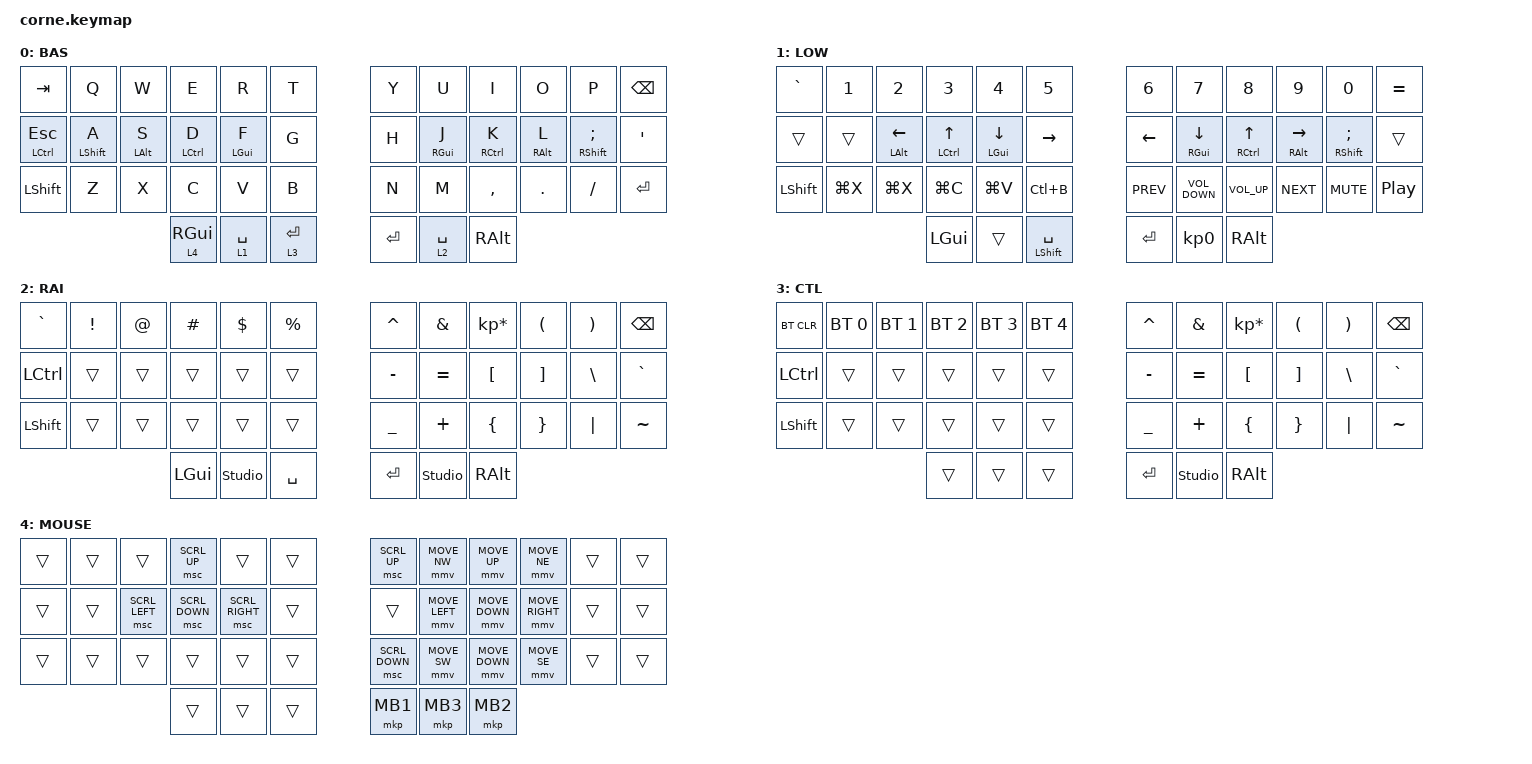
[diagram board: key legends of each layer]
/*
 * Copyright (c) 2020 The ZMK Contributors
 *
 * SPDX-License-Identifier: MIT
 */

#include <dt-bindings/led/led.h>
#include <dt-bindings/zmk/reset.h>
#include <behaviors.dtsi>
#include <dt-bindings/zmk/bt.h>
#include <dt-bindings/zmk/keys.h>
#define ZMK_POINTING_DEFAULT_MOVE_VAL 1500  // default: 600
#define ZMK_POINTING_DIAGONAL_MOVE_VAL 1000
#include <dt-bindings/zmk/pointing.h>

#define MOVE_NW MOVE(-ZMK_POINTING_DIAGONAL_MOVE_VAL, -ZMK_POINTING_DIAGONAL_MOVE_VAL)
#define MOVE_NE MOVE(ZMK_POINTING_DIAGONAL_MOVE_VAL, -ZMK_POINTING_DIAGONAL_MOVE_VAL)
#define MOVE_SE MOVE(ZMK_POINTING_DIAGONAL_MOVE_VAL, ZMK_POINTING_DIAGONAL_MOVE_VAL)
#define MOVE_SW MOVE(-ZMK_POINTING_DIAGONAL_MOVE_VAL, ZMK_POINTING_DIAGONAL_MOVE_VAL)

&led_strip { chain-length = <27>; };

&mmv {
    time-to-max-speed-ms = <300>;
    acceleration-exponent = <1>;
};

/ {
    combos {
        compatible = "zmk,combos";

        screenshot {
            bindings = <&kp LS(LC(LG(NUMBER_4)))>;
            key-positions = <13 14 15 16>;
        };

        left_del {
            bindings = <&kp BACKSPACE>;
            key-positions = <28 27 26>;
        };

        right_del {
            bindings = <&kp BACKSPACE>;
            key-positions = <31 32 33>;
        };

        lcopy {
            bindings = <&kp LG(C)>;
            key-positions = <26 27>;
        };

        lpaste {
            bindings = <&kp LG(V)>;
            key-positions = <27 28>;
        };

        lundo {
            bindings = <&kp LG(Z)>;
            key-positions = <25 26>;
        };

        left_brace {
            bindings = <&kp LEFT_BRACE>;
            key-positions = <31 32>;
        };

        right_brase {
            bindings = <&kp RIGHT_BRACE>;
            key-positions = <33 34>;
        };

        left_bracket {
            bindings = <&kp LEFT_BRACKET>;
            key-positions = <7 8>;
        };

        right_bracket {
            bindings = <&kp RIGHT_BRACKET>;
            key-positions = <9 10>;
        };

        ctrl-a {
            bindings = <&kp LC(A)>;
            key-positions = <28 29>;
        };
    };

    behaviors {
        hml: hml {
            compatible = "zmk,behavior-hold-tap";
            label = "HML";
            bindings = <&kp>, <&kp>;

            #binding-cells = <2>;
            tapping-term-ms = <280>;
            quick-tap-ms = <200>;
            flavor = "balanced";
            require-prior-idle-ms = <150>;
            hold-trigger-on-release;
            hold-trigger-key-positions = <6 18 30 31 19 7 8 9 10 22 21 20 32 33 34 39 40 41 11 23 35>;
        };

        hmr: hmr {
            compatible = "zmk,behavior-hold-tap";
            label = "HMR";
            bindings = <&kp>, <&kp>;

            #binding-cells = <2>;
            tapping-term-ms = <280>;
            quick-tap-ms = <200>;
            flavor = "balanced";
            require-prior-idle-ms = <150>;
            hold-trigger-on-release;
            hold-trigger-key-positions = <2 3 4 5 14 15 16 17 26 27 28 29 36 37 38 1 2 3 4 5 13 14 15 16 17 25 26 27 28 29 36 37 38 0 12 24>;
        };

        new_behavior: new_behavior {
            compatible = "zmk,behavior-hold-tap";
            label = "NEW_BEHAVIOR";
            bindings = <&kp>, <&kp>;

            #binding-cells = <2>;
            tapping-term-ms = <280>;
            quick-tap-ms = <200>;
            flavor = "balanced";
            require-prior-idle-ms = <150>;
            hold-trigger-on-release;
            hold-trigger-key-positions = <2 3 4 5 14 15 16 17 26 27 28 29 36 37 38 1 2 3 4 5 13 14 15 16 17 25 26 27 28 29 36 37 38>;
        };

        mymmv: mymmv {
            compatible = "zmk,behavior-input-two-axis";
            label = "MYMMV";
            #binding-cells = <1>;
            x-input-code = <0>;
            y-input-code = <1>;
            time-to-max-speed-ms = <300>;
            acceleration-exponent = <1>;
        };
    };

    keymap {
        compatible = "zmk,keymap";

        default_layer {
            display-name = "BAS";

            // -----------------------------------------------------------------------------------------
            // |  TAB |  Q  |  W  |  E  |  R  |  T  |   |  Y  |  U   |  I  |  O  |  P  | BKSP |
            // | CTRL |  A  |  S  |  D  |  F  |  G  |   |  H  |  J   |  K  |  L  |  ;  |  '   |
            // | SHFT |  Z  |  X  |  C  |  V  |  B  |   |  N  |  M   |  ,  |  .  |  /  | ESC  |
            //                    | GUI | LWR | SPC |   | ENT | RSE  | ALT |

            bindings = <
&kp TAB           &kp Q              &kp W            &kp E         &kp R        &kp T          &kp Y    &kp U        &kp I         &kp O        &kp P                  &kp BSPC
&mt LCTRL ESCAPE  &hml LEFT_SHIFT A  &hml LEFT_ALT S  &hml LCTRL D  &hml LGUI F  &kp G          &kp H    &hmr RGUI J  &hmr RCTRL K  &hmr RALT L  &hmr RSHIFT SEMICOLON  &kp SQT
&kp LSHFT         &kp Z              &kp X            &kp C         &kp V        &kp B          &kp N    &kp M        &kp COMMA     &kp DOT      &kp FSLH               &kp ENTER
                                                      &lt 4 RGUI    &lt 1 SPACE  &lt 3 ENTER    &kp RET  &lt 2 SPACE  &kp RALT
            >;
        };

        lower_layer {
            display-name = "LOW";

            // -----------------------------------------------------------------------------------------
            // |  TAB |  1  |  2  |  3  |  4  |  5  |   |  6  |  7  |  8  |  9  |  0  | BKSP |
            // | BTCLR| BT1 | BT2 | BT3 | BT4 | BT5 |   | LFT | DWN |  UP | RGT |     |      |
            // | SHFT |     |     |     |     |     |   |     |     |     |     |     |      |
            //                    | GUI |     | SPC |   | ENT |     | ALT |

            bindings = <
&kp GRAVE       &kp N1     &kp N2                &kp N3               &kp N4                &kp N5                  &kp N6      &kp N7             &kp N8               &kp N9           &kp N0                      &kp EQUAL
&trans          &trans     &hml LALT LEFT_ARROW  &hml LCTRL UP_ARROW  &hml LGUI DOWN_ARROW  &kp RIGHT               &kp LEFT    &hmr RGUI DOWN     &hmr RCTRL UP_ARROW  &hmr RALT RIGHT  &hmr RIGHT_SHIFT SEMICOLON  &trans
&kp LEFT_SHIFT  &kp LG(X)  &kp LG(X)             &kp LG(C)            &kp LG(V)             &kp LC(B)               &kp C_PREV  &kp C_VOLUME_DOWN  &kp C_VOLUME_UP      &kp C_NEXT       &kp C_MUTE                  &kp C_PP
                                                 &kp LGUI             &trans                &mt LEFT_SHIFT SPACE    &kp RET     &kp KP_NUMBER_0    &kp RALT
            >;
        };

        raise_layer {
            display-name = "RAI";

            // -----------------------------------------------------------------------------------------
            // |  TAB |  !  |  @  |  #  |  $  |  %  |   |  ^  |  &  |  *  |  (  |  )  | BKSP |
            // | CTRL |     |     |     |     |     |   |  -  |  =  |  [  |  ]  |  \  |  `   |
            // | SHFT |     |     |     |     |     |   |  _  |  +  |  {  |  }  | "|" |  ~   |
            //                    | GUI |     | SPC |   | ENT |     | ALT |

            bindings = <
&kp GRAVE  &kp EXCL  &kp AT  &kp HASH  &kp DLLR        &kp PRCNT    &kp CARET  &kp AMPS        &kp KP_MULTIPLY  &kp LPAR  &kp RPAR  &kp BSPC
&kp LCTRL  &trans    &trans  &trans    &trans          &trans       &kp MINUS  &kp EQUAL       &kp LBKT         &kp RBKT  &kp BSLH  &kp GRAVE
&kp LSHFT  &trans    &trans  &trans    &trans          &trans       &kp UNDER  &kp PLUS        &kp LBRC         &kp RBRC  &kp PIPE  &kp TILDE
                             &kp LGUI  &studio_unlock  &kp SPACE    &kp RET    &studio_unlock  &kp RALT
            >;
        };

        extra_1 {
            display-name = "CTL";
            bindings = <
&bt BT_CLR  &bt BT_SEL 0  &bt BT_SEL 1  &bt BT_SEL 2  &bt BT_SEL 3  &bt BT_SEL 4    &kp CARET  &kp AMPS        &kp KP_MULTIPLY  &kp LPAR  &kp RPAR  &kp BSPC
&kp LCTRL   &trans        &trans        &trans        &trans        &trans          &kp MINUS  &kp EQUAL       &kp LBKT         &kp RBKT  &kp BSLH  &kp GRAVE
&kp LSHFT   &trans        &trans        &trans        &trans        &trans          &kp UNDER  &kp PLUS        &kp LBRC         &kp RBRC  &kp PIPE  &kp TILDE
                                        &trans        &trans        &trans          &kp RET    &studio_unlock  &kp RALT
            >;
        };

        extra_2 {
            display-name = "MOUSE";
            bindings = <
&trans  &trans  &trans          &msc SCRL_UP    &trans           &trans    &msc SCRL_UP    &mmv MOVE_NW    &mmv MOVE_UP    &mmv MOVE_NE           &trans  &trans
&trans  &trans  &msc SCRL_LEFT  &msc SCRL_DOWN  &msc SCRL_RIGHT  &trans    &trans          &mmv MOVE_LEFT  &mmv MOVE_DOWN  &mmv MOVE_RIGHT  &trans  &trans
&trans  &trans  &trans          &trans          &trans           &trans    &msc SCRL_DOWN  &mmv MOVE_SW    &mmv MOVE_DOWN  &mmv MOVE_SE     &trans  &trans
                                &trans          &trans           &trans    &mkp MB1        &mkp MB3          &mkp MB2
            >;
        };

        extra_3 { status = "reserved"; };
    };
};
